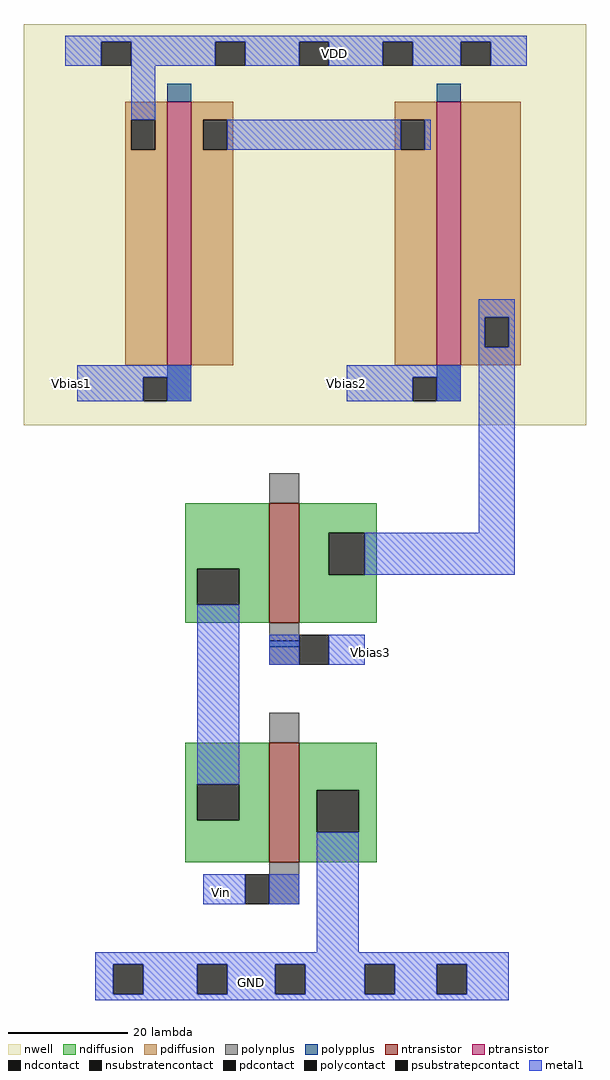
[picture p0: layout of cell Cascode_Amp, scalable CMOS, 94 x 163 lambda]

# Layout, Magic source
magic
tech scmos
<< nwell >>
rect -28 -4 66 63
<< ntransistor >>
rect 13 -37 18 -17
rect 13 -77 18 -57
<< ptransistor >>
rect -4 6 0 50
rect 41 6 45 50
<< ndiffusion >>
rect -1 -28 13 -17
rect -1 -34 1 -28
rect 8 -34 13 -28
rect -1 -37 13 -34
rect 18 -22 31 -17
rect 18 -29 23 -22
rect 29 -29 31 -22
rect 18 -37 31 -29
rect -1 -64 13 -57
rect -1 -70 1 -64
rect 8 -70 13 -64
rect -1 -77 13 -70
rect 18 -65 31 -57
rect 18 -72 21 -65
rect 28 -72 31 -65
rect 18 -77 31 -72
<< pdiffusion >>
rect -11 47 -4 50
rect -11 42 -10 47
rect -6 42 -4 47
rect -11 6 -4 42
rect 0 47 7 50
rect 0 42 2 47
rect 6 42 7 47
rect 0 6 7 42
rect 34 47 41 50
rect 34 42 35 47
rect 39 42 41 47
rect 34 6 41 42
rect 45 14 55 50
rect 45 9 49 14
rect 53 9 55 14
rect 45 6 55 9
<< ndcontact >>
rect 1 -34 8 -28
rect 23 -29 29 -22
rect 1 -70 8 -64
rect 21 -72 28 -65
<< pdcontact >>
rect -10 42 -6 47
rect 2 42 6 47
rect 35 42 39 47
rect 49 9 53 14
<< psubstratepcontact >>
rect -13 -99 -8 -94
rect 1 -99 6 -94
rect 14 -99 19 -94
rect 29 -99 34 -94
rect 41 -99 46 -94
<< nsubstratencontact >>
rect -15 56 -10 60
rect 4 56 9 60
rect 18 56 23 60
rect 32 56 37 60
rect 45 56 50 60
<< polycontact >>
rect -8 0 -4 4
rect 37 0 41 4
rect 18 -44 23 -39
rect 9 -84 13 -79
<< polypplus >>
rect -4 50 0 53
rect 41 50 45 53
rect -4 0 0 6
rect 41 0 45 6
rect 13 -41 18 -40
<< polynplus >>
rect 13 -17 18 -12
rect 13 -40 18 -37
rect 13 -44 18 -41
rect 13 -57 18 -52
rect 13 -84 18 -77
<< metal1 >>
rect -21 60 56 61
rect -21 56 -15 60
rect -10 56 4 60
rect 9 56 18 60
rect 23 56 32 60
rect 37 56 45 60
rect 50 56 56 60
rect -10 47 -6 56
rect 6 42 35 47
rect 39 42 40 47
rect 48 14 54 17
rect 48 9 49 14
rect 53 9 54 14
rect -19 4 0 6
rect -19 0 -8 4
rect -4 0 0 4
rect 26 4 45 6
rect 26 0 37 4
rect 41 0 45 4
rect 48 -22 54 9
rect 29 -29 54 -22
rect 1 -64 8 -34
rect 13 -44 18 -39
rect 23 -44 29 -39
rect 2 -84 9 -79
rect 13 -84 18 -79
rect 21 -92 28 -72
rect -16 -94 53 -92
rect -16 -99 -13 -94
rect -8 -99 1 -94
rect 6 -99 14 -94
rect 19 -99 29 -94
rect 34 -99 41 -94
rect 46 -99 53 -94
rect -16 -100 53 -99
<< labels >>
rlabel metal1 24 58 24 58 5 VDD
rlabel space 30 -42 30 -42 1 Vbias3
rlabel metal1 26 3 26 3 1 Vbias2
rlabel nwell -20 3 -20 3 1 Vbias1
rlabel metal1 5 -82 5 -82 1 Vin
rlabel metal1 10 -97 10 -97 1 GND
<< end >>
